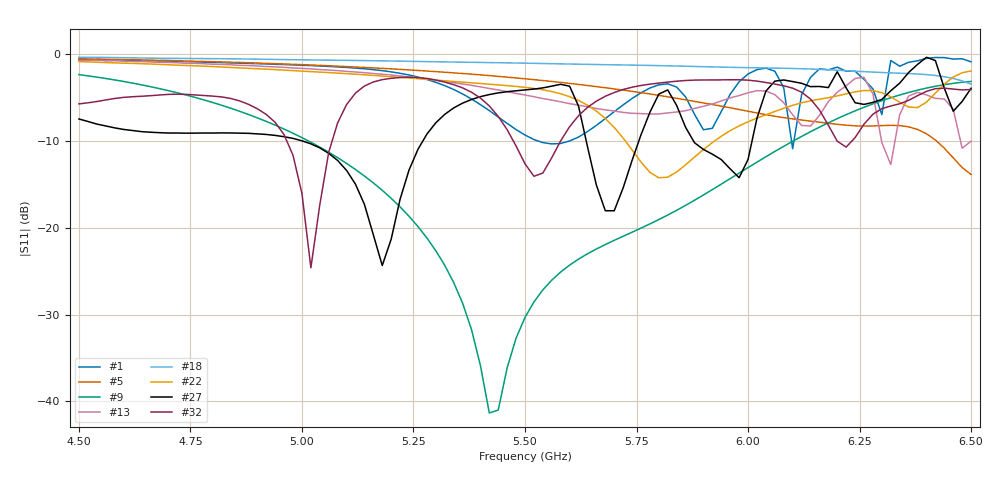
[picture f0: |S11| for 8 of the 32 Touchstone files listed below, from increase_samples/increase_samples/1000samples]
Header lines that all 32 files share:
! TOUCHSTONE file generated by CST MICROWAVE STUDIO
! Project name: L.cst
! Header version: 2018
! Port assignment regex: !\s*Touchstone port\s*([0-9]+)\s*=\s*(CST MWS port|CST DS port)\s*([0-9]+|Zmin|Zmax)\s*\(\"(.*)\"\)(\s*mode\s*([0-9]+))?.*
! Touchstone port assignment:
! Touchstone port 1 = CST MWS port 1 ("")
# GHz S DB R 50
Fixed: Di = 1.27, Epsilon_r = 1.56, InnerDiameter = 1.27, Length = 2, Lf = 10, Lg = 60, OuterConductorThickness = 0.2921, OuterDiameter = 3.6, Wf = 3, Wp = 41.2, de = 1.5, df = 6.8, g = 0.8, h = 2.34, hf = 1.524, w = 9.7
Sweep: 4.5 GHz to 6.5 GHz
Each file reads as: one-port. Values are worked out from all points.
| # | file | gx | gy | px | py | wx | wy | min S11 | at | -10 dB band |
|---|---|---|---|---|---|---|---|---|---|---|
| 1 | S_1000samples201.s1p | 3.645 | 1.95295 | 10.5381 | 14.2007 | 6.89308 | 12.2477 | -10.9 dB | 6.1 GHz | 67.75 MHz wide |
| 2 | S_1000samples203.s1p | 3.22912 | 3.27814 | 13.1889 | 14.8324 | 9.95976 | 11.5543 | -22.8 dB | 5.8 GHz | 213.1 MHz wide |
| 3 | S_1000samples204.s1p | 1.69666 | 1.44019 | 13.0503 | 14.2571 | 11.3536 | 12.8169 | -28.4 dB | 4.88 GHz | 619.6 MHz wide |
| 4 | S_1000samples205.s1p | 3.04208 | 2.53472 | 14.1154 | 14.5357 | 11.0733 | 12.0009 | -18.1 dB | 5.28 GHz | 449.4 MHz wide |
| 5 | S_1000samples206.s1p | 4.29552 | 4.96584 | 14.5493 | 12.6074 | 10.2538 | 7.64152 | -13.8 dB | 6.5 GHz | over 77.12 MHz wide |
| 6 | S_1000samples208.s1p | 4.73764 | 0.540389 | 12.8311 | 8.57719 | 8.09344 | 8.0368 | -3.4 dB | 5.46 GHz | - |
| 7 | S_1000samples209.s1p | 0.773639 | 2.92122 | 12.2695 | 8.91092 | 11.4959 | 5.98969 | -11.5 dB | 4.88 GHz | 285.8 MHz wide |
| 8 | S_1000samples211.s1p | 2.61819 | 2.09498 | 9.30123 | 13.7578 | 6.68305 | 11.6628 | -11.1 dB | 5.84 GHz | 122.3 MHz wide |
| 9 | S_1000samples212.s1p | 0.788195 | 1.50747 | 10.4436 | 8.64916 | 9.65541 | 7.14168 | -41.4 dB | 5.42 GHz | 1.085 GHz wide |
| 10 | S_1000samples213.s1p | 1.17266 | 2.96294 | 10.2327 | 13.2557 | 9.06005 | 10.2928 | -16.7 dB | 6.3 GHz | 471.7 MHz wide |
| 11 | S_1000samples214.s1p | 1.79882 | 3.88898 | 11.0504 | 10.1791 | 9.25159 | 6.29013 | -7.8 dB | 6.42 GHz | - |
| 12 | S_1000samples215.s1p | 1.23548 | 0.839991 | 8.66954 | 9.69313 | 7.43406 | 8.85314 | -5.5 dB | 6.5 GHz | - |
| 13 | S_1000samples216.s1p | 3.6871 | 2.26182 | 11.8578 | 13.7249 | 8.17067 | 11.4631 | -12.7 dB | 6.32 GHz | 29.98 MHz wide |
| 14 | S_1000samples217.s1p | 4.37475 | 2.62562 | 12.6796 | 10.9141 | 8.30487 | 8.28846 | -3.9 dB | 6.16 GHz | - |
| 15 | S_1000samples220.s1p | 4.00089 | 3.31709 | 14.8887 | 13.1569 | 10.8878 | 9.83984 | -28.0 dB | 5.9 GHz | 921.3 MHz wide |
| 16 | S_1000samples221.s1p | 0.925387 | 0.626114 | 14.349 | 14.9823 | 13.4236 | 14.3562 | -16.1 dB | 4.84 GHz | 64.09 MHz wide |
| 17 | S_1000samples223.s1p | 0.69545 | 0.935862 | 14.1686 | 11.6259 | 13.4732 | 10.69 | -18.0 dB | 4.78 GHz | 105.2 MHz wide |
| 18 | S_1000samples224.s1p | 4.05522 | 3.46052 | 9.77677 | 13.432 | 5.72155 | 9.97147 | -3.4 dB | 6.5 GHz | - |
| 19 | S_1000samples225.s1p | 2.00104 | 3.96458 | 11.1324 | 9.1235 | 9.13141 | 5.15891 | -6.7 dB | 6.5 GHz | - |
| 20 | S_1000samples226.s1p | 4.08211 | 0.912702 | 8.95694 | 14.2236 | 4.87483 | 13.3109 | -20.0 dB | 5.18 GHz | 302.8 MHz wide |
| 21 | S_1000samples228.s1p | 1.96263 | 3.54464 | 13.4542 | 12.6736 | 11.4916 | 9.12895 | -43.9 dB | 5.68 GHz | 518.9 MHz wide |
| 22 | S_1000samples229.s1p | 1.44995 | 0.544744 | 8.65801 | 11.2302 | 7.20805 | 10.6855 | -14.2 dB | 5.8 GHz | 199.1 MHz wide |
| 23 | S_1000samples230.s1p | 1.98646 | 4.72204 | 10.9304 | 12.5756 | 8.94392 | 7.85352 | -5.5 dB | 6.5 GHz | - |
| 24 | S_1000samples231.s1p | 2.49224 | 2.78633 | 12.0634 | 12.7145 | 9.5712 | 9.92815 | -9.4 dB | 6.28 GHz | - |
| 25 | S_1000samples233.s1p | 2.24889 | 3.00808 | 12.8902 | 11.7361 | 10.6413 | 8.72798 | -16.2 dB | 6 GHz | 839.8 MHz wide |
| 26 | S_1000samples234.s1p | 3.74071 | 3.56814 | 12.0815 | 9.14535 | 8.34077 | 5.57721 | -3.6 dB | 6.5 GHz | - |
| 27 | S_1000samples235.s1p | 0.54061 | 1.55141 | 11.357 | 14.2595 | 10.8164 | 12.7081 | -24.3 dB | 5.18 GHz | 268.5 MHz wide |
| 28 | S_1000samples236.s1p | 2.12895 | 2.31668 | 9.7427 | 11.996 | 7.61376 | 9.6793 | -5.1 dB | 6.5 GHz | - |
| 29 | S_1000samples237.s1p | 1.32437 | 4.05815 | 10.9879 | 13.7513 | 9.66353 | 9.6931 | -20.5 dB | 6.36 GHz | 320.6 MHz wide |
| 30 | S_1000samples238.s1p | 2.11596 | 4.70194 | 13.4225 | 14.7765 | 11.3065 | 10.0746 | -21.2 dB | 6.18 GHz | 230.1 MHz wide |
| 31 | S_1000samples239.s1p | 1.92615 | 2.17075 | 8.27959 | 13.4793 | 6.35344 | 11.3085 | -15.4 dB | 6.02 GHz | 154.1 MHz wide |
| 32 | S_1000samples240.s1p | 0.499419 | 2.15256 | 12.1451 | 11.8589 | 11.6457 | 9.70632 | -24.6 dB | 5.02 GHz | 101.3 MHz wide |
